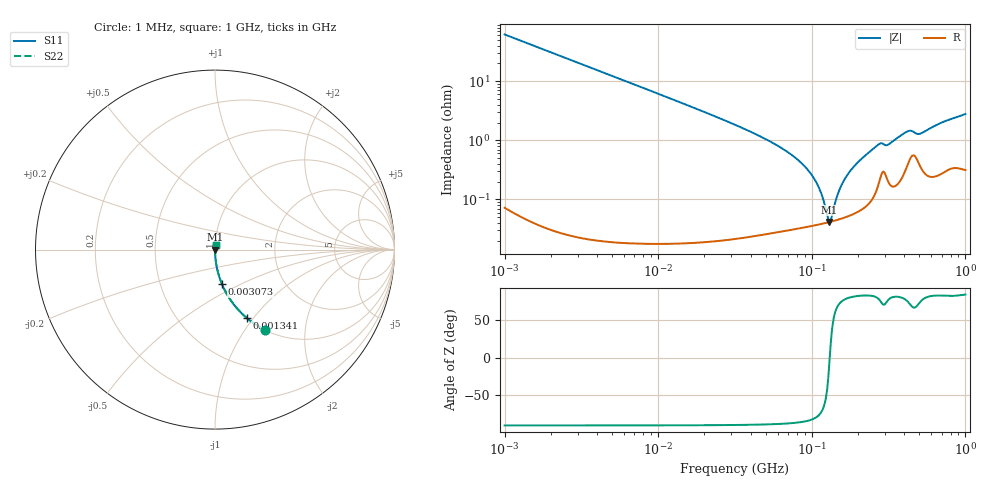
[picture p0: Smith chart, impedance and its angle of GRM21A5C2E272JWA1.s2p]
!Murata Part Number: GRM21A5C2E272JWA1
!These Parameters are Measured in Series Mode Connection
!Data Generated on Mar 30, 2021
!  o--ll--o
!Port1  Port2
!  o------o
!Operation Temp=25[degC], DC Bias Voltage=0[V]
!Freq. Start=1000[kHz] Stop=1000[MHz] 401[Steps]
# Hz S RI R 50
!Freq.(Hz) S11(Real) S11(Imag) S21(Real) S21(Imag) S12(Real) S12(Imag) S22(Real) S22(Imag)
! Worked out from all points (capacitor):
!   401 points, 1 MHz to 1 GHz, reference 50 ohm
!   read as one part in series: C = 2.57 nF near 1.035 MHz
!   lowest |Z| = 41.7 mohm at 130.3 MHz (marker M1)
!   series resonance near 130.9 MHz, so ESL is about 570 pH
!   S11 on the Smith chart (normalised r, x): 1 MHz: 1.00, -1.24; 1.341 MHz: 1.00, -0.92; 3.073 MHz: 1.00, -0.40; 1 GHz: 1.01, +0.06
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1000000  0.2768 -0.4468  0.7232 0.4468  0.7232 0.4468  0.2768 -0.4468
1341220  0.1755 -0.3799  0.8245 0.3799  0.8245 0.3799  0.1755 -0.3799
3072557  0.0391 -0.1932  0.9609 0.1932  0.9609 0.1932  0.0391 -0.1932
3180534  0.0366 -0.1872  0.9634 0.1872  0.9634 0.1872  0.0366 -0.1872
1.01158e7  0.00385 -0.0605  0.9961 0.0605  0.9961 0.0605  0.00385 -0.0605
3.162278e7  0.000551 -0.0184  0.9994 0.0184  0.9994 0.0184  0.000551 -0.0184
6.76083e7  0.000339 -0.00667  0.9997 0.00667  0.9997 0.00667  0.000339 -0.00667
8.462526e7  0.000345 -0.00423  0.9997 0.00423  0.9997 0.00423  0.000345 -0.00423
1.005773e8  0.000363 -0.00251  0.9996 0.00251  0.9996 0.00251  0.000363 -0.00251
1.135011e8  0.000383 -0.00135  0.9996 0.00135  0.9996 0.00135  0.000383 -0.00135
1.258925e8  0.000406 -0.000367  0.9996 0.000367  0.9996 0.000367  0.000406 -0.000367
1.303167e8  0.000415 -4.09e-05  0.9996 4.09e-05  0.9996 4.09e-05  0.000415 -4.09e-05
1.348963e8  0.000425 0.000286  0.9996 -0.000286  0.9996 -0.000286  0.000425 0.000286
1.44544e8  0.000447 0.000943  0.9996 -0.000943  0.9996 -0.000943  0.000447 0.000943
1.548817e8  0.000474 0.00161  0.9995 -0.00161  0.9995 -0.00161  0.000474 0.00161
1.809256e8  0.000556 0.00316  0.9994 -0.00316  0.9994 -0.00316  0.000556 0.00316
2.691535e8  0.00172 0.00816  0.9983 -0.00816  0.9983 -0.00816  0.00172 0.00816
3.198895e8  0.00191 0.0085  0.9981 -0.0085  0.9981 -0.0085  0.00191 0.0085
4.216965e8  0.00409 0.0136  0.9959 -0.0136  0.9959 -0.0136  0.00409 0.0136
5.099176e8  0.0037 0.0124  0.9963 -0.0124  0.9963 -0.0124  0.0037 0.0124
7.079458e8  0.00316 0.0199  0.9968 -0.0199  0.9968 -0.0199  0.00316 0.0199
1e9  0.0039 0.0275  0.9961 -0.0275  0.9961 -0.0275  0.0039 0.0275
